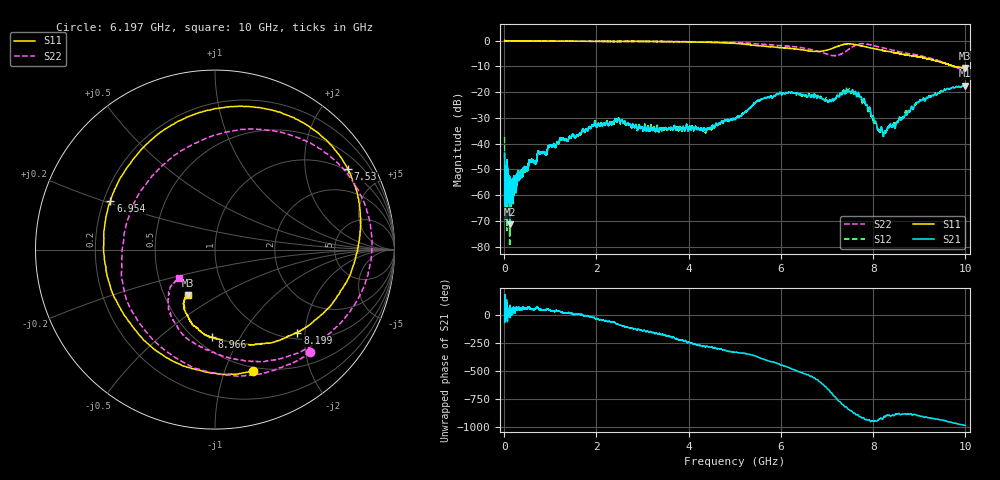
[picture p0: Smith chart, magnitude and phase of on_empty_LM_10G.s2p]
!Agilent Technologies,E8362C,MY43020457,A.09.42.15
!Agilent E8362C: A.09.42.15
!Date: Friday, March 13, 2026 14:56:30
!Correction: S11(Full 2 Port(1,2))
!S21(Full 2 Port(1,2))
!S12(Full 2 Port(1,2))
!S22(Full 2 Port(1,2))
!S2P File: Measurements: S11, S21, S12, S22:
# Hz S  dB  R 50
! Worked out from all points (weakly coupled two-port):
!   20001 points, 10 MHz to 10 GHz, reference 50 ohm
!   highest |S21| = -17.47 dB at 9.999 GHz (marker M1); lowest = -71.3 dB at 129.9 MHz (marker M2)
!   lowest |S11| = -10.6 dB at 9.986 GHz (marker M3), VSWR 1.83, Z = 33 - j18.3 ohm
!   |S11| at or under -10 dB: 9.762655 GHz to 9.762826 GHz (171 kHz wide, 0.00175 % of centre); 9.764751 GHz to 9.768205 GHz (3.454 MHz wide, 0.0354 % of centre); 9.768 GHz to end of sweep (the widest 3 of 4)
!   |S22| runs from -11.8 to 0.0 dB; largest |S21 - S12| = 0.02
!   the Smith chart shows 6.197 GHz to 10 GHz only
!   S11 on the Smith chart (normalised r, x): 6.197 GHz: 0.46, -1.25; 6.954 GHz: 0.23, +0.21; 7.53 GHz: 0.93, +3.34; 8.199 GHz: 1.13, -1.83; 8.966 GHz: 0.60, -0.77; 10 GHz: 0.66, -0.37
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1e7  -0.03 178.9  -43.66 -70.8  -37.41 5.3  -0.09 178.5
1.2988e8  -0.03 167.6  -71.28 67.6  -62.22 81.1  -0.08 168.2
9.45064e8  -0.14 88.3  -41.90 50.5  -41.68 52.3  -0.15 92.8
1.675333e9  -0.20 7.8  -35.64 1.1  -36.06 4.5  -0.23 13.4
2.040468e9  -0.23 -37.0  -32.05 -41.7  -32.46 -42.5  -0.25 -32.2
2.480527e9  -0.30 -93.3  -30.45 -88.1  -30.05 -90.4  -0.30 -89.6
2.925582e9  -0.28 -148.1  -33.00 -133.1  -32.88 -132.5  -0.26 -144.9
3.340166e9  -0.33 166.7  -34.98 -174.9  -34.76 -178.9  -0.28 170.0
4.104901e9  -0.55 97.5  -34.13 96.2  -34.88 96.1  -0.41 102.7
5.005e9  -1.01 27.9  -30.47 24.4  -30.64 24.7  -0.70 38.2
6.197306e9  -3.00 -72.6  -20.06 -117.7  -20.69 -119.1  -2.19 -47.2
6.670333e9  -4.10 -145.3  -21.14 169.6  -20.74 166.4  -3.46 -98.9
6.95355e9  -3.85 155.1  -23.38 80.2  -23.23 82.1  -4.88 -147.6
7.263739e9  -1.98 85.7  -21.72 -55.3  -21.85 -53.0  -5.45 134.2
7.529972e9  -1.25 31.2  -19.88 -138.4  -20.05 -142.5  -2.63 63.7
7.786216e9  -2.19 -6.0  -23.25 161.7  -24.46 160.0  -1.15 3.9
8.198803e9  -3.71 -45.3  -34.88 147.1  -35.25 157.7  -2.71 -52.8
8.335166e9  -4.18 -55.1  -33.57 -177.7  -34.02 -174.9  -3.29 -64.7
8.965536e9  -6.21 -91.9  -23.90 179.2  -23.35 179.1  -5.54 -105.2
9.986014e9  -10.62 -120.5  -17.51 92.1  -17.48 91.3  -11.74 -141.2
9.998502e9  -10.60 -120.5  -17.47 91.3  -17.51 89.6  -11.77 -141.5
1e10  -10.58 -120.4  -17.47 91.1  -17.50 89.5  -11.78 -141.4
